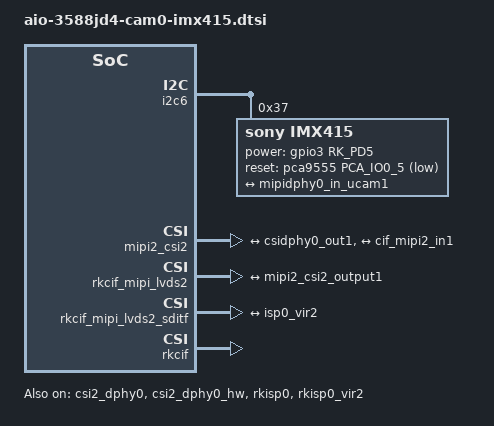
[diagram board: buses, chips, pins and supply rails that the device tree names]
// SPDX-License-Identifier: (GPL-2.0+ OR MIT)
/*
 * Copyright (c) 2021 Rockchip Electronics Co., Ltd.
 *
 */

&spi0 {
        status = "disabled";
};

&i2c6 {
	status = "okay";

        imx415: imx415@37{
               compatible = "sony,imx415";
               reg = <0x37>;
               clocks = <&cru CLK_MIPI_CAMARAOUT_M1>;
               clock-names = "xvclk";
               pinctrl-names = "default";
               pinctrl-0 = <&mipim1_camera1_clk>;
               power-domains = <&power RK3588_PD_VI>;

               power-gpios = <&gpio3 RK_PD5 GPIO_ACTIVE_HIGH>;
               reset-gpios = <&pca9555 PCA_IO0_5 GPIO_ACTIVE_LOW>;
	       #define FF_COMPATIBLE
               //avdd-supply = <&vcc_mipidcphy0>;
               firefly,clkout-enabled-index = <0>;
               rockchip,camera-module-index = <0>;
               rockchip,camera-module-facing = "back";
               rockchip,camera-module-name = "CMK-OT2022-PX1";
               rockchip,camera-module-lens-name = "IR0147-50IRC-8M-F20";
               port {
                        imx415_out0: endpoint {
                               remote-endpoint = <&mipidphy0_in_ucam1>;
                               data-lanes = <1 2 3 4>;
                       };
               };
       };

};

&csi2_dphy0 {
	status = "okay";
#ifdef FF_COMPATIBLE 
	firefly-compatible;
#endif
	ports {
		#address-cells = <1>;
		#size-cells = <0>;
		port@0 {
			reg = <0>;
			#address-cells = <1>;
			#size-cells = <0>;

			mipidphy0_in_ucam1: endpoint@1 {
				reg = <1>;
				remote-endpoint = <&imx415_out0>;
				data-lanes = <1 2 3 4>;
			};
		};
		port@1 {
			reg = <1>;
			#address-cells = <1>;
			#size-cells = <0>;

			csidphy0_out1: endpoint@0 {
				reg = <0>;
				remote-endpoint = <&mipi2_csi2_input1>;
			};
		};
	};
};

&csi2_dphy0_hw {
	status = "okay";
};


&mipi2_csi2 {
	status = "okay";
#ifdef FF_COMPATIBLE
	firefly-compatible;
#endif
	ports {
		#address-cells = <1>;
		#size-cells = <0>;

		port@0 {
			reg = <0>;
			#address-cells = <1>;
			#size-cells = <0>;

			mipi2_csi2_input1: endpoint@0 {
				reg = <0>;
				remote-endpoint = <&csidphy0_out1>;
			};
		};

		port@1 {
			reg = <1>;
			#address-cells = <1>;
			#size-cells = <0>;

			mipi2_csi2_output1: endpoint@0 {
				reg = <0>;
				remote-endpoint = <&cif_mipi2_in1>;
			};
		};
	};
};

&rkcif_mipi_lvds2 {
	status = "okay";

	port {
		cif_mipi2_in1: endpoint {
			remote-endpoint = <&mipi2_csi2_output1>;
		};
	};
};

&rkcif_mipi_lvds2_sditf {
	status = "okay";

	port {
		mipi2_lvds2_sditf: endpoint {
			remote-endpoint = <&isp0_vir2>;
		};
	};
};

&rkcif {
	status = "okay";
};

&rkcif_mmu {
	status = "okay";
};

&rkisp0 {
	status = "okay";
};

&isp0_mmu {
	status = "okay";
};

&rkisp0_vir2 {
	status = "okay";

	port {
		#address-cells = <1>;
		#size-cells = <0>;

		isp0_vir2: endpoint@0 {
			reg = <0>;
			remote-endpoint = <&mipi2_lvds2_sditf>;
		};
	};
};
